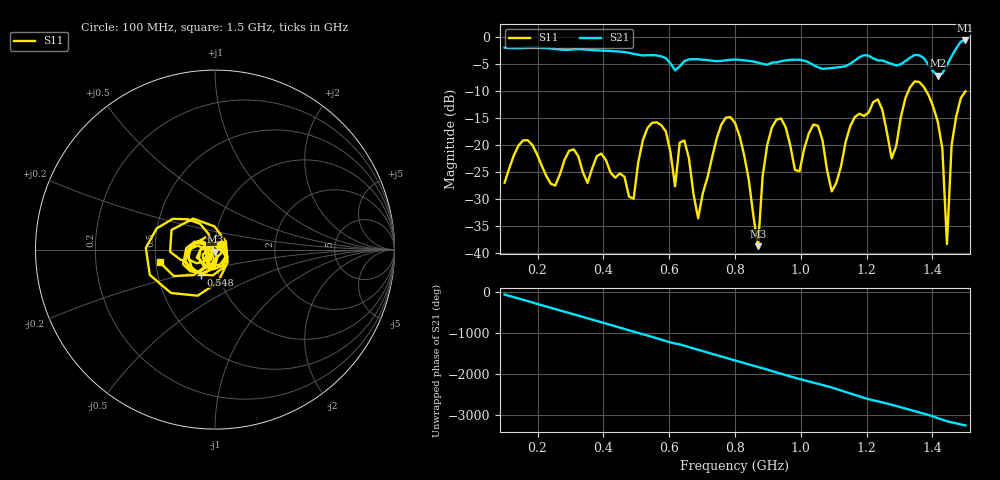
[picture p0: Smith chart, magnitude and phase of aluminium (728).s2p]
! NanoVNA-App
! Date: 2025-09-25 15:00:57
! Start: 100MHz Stop: 1,5GHz Points: 101
! S-Parameter data: F S11 S21 S12 S22
# Hz S RI R 50
!  Frequency  S11_Real  S11_Imag  S21_Real  S21_Imag  S12_Real  S12_Imag  S22_Real  S22_Imag
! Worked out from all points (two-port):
!   101 points, 100 MHz to 1.5 GHz, reference 50 ohm
!   highest |S21| = -0.58 dB at 1.5 GHz (marker M1); lowest = -7.1 dB at 1.416 GHz (marker M2)
!   |S21| within 3 dB of the highest: start of sweep to 578.5 MHz; 1.458 GHz to end of sweep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
!   lowest |S11| = -38.7 dB at 870 MHz (marker M3), VSWR 1.02, Z = 50.1 - j1.15 ohm
!   |S11| at or under -10 dB: start of sweep to 1.327 GHz; 1.381 GHz to end of sweep
!   S12 and S22 are empty: the file has one direction only
!   S11 on the Smith chart (normalised r, x): 100 MHz: 1.07, +0.06; 548 MHz: 0.82, -0.23; 1.5 GHz: 0.53, -0.08
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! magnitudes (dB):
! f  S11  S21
! 100 MHz  -27.0  -1.9
! 156 MHz  -19.1  -2.0
! 338 MHz  -25.1  -2.2
! 492 MHz  -30.0  -3.1
! 548 MHz  -15.9  -3.3
! 576 MHz  -16.3  -3.5
! 618 MHz  -27.6  -6.1
! 646 MHz  -19.1  -4.4
! 688 MHz  -33.6  -4.1
! 800 MHz  -15.9  -4.1
! 870 MHz  -38.7  -4.7
! 912 MHz  -16.7  -4.7
! 996 MHz  -24.9  -4.2
! 1.038 GHz  -16.2  -5.1
! 1.094 GHz  -28.6  -5.7
! 1.234 GHz  -11.5  -4.3
! 1.276 GHz  -22.5  -4.9
! 1.346 GHz  -8.2  -3.3
! 1.416 GHz  -15.6  -7.1
! 1.444 GHz  -38.4  -5.2
! 1.458 GHz  -20.1  -3.5
! 1.5 GHz  -10.0  -0.6
